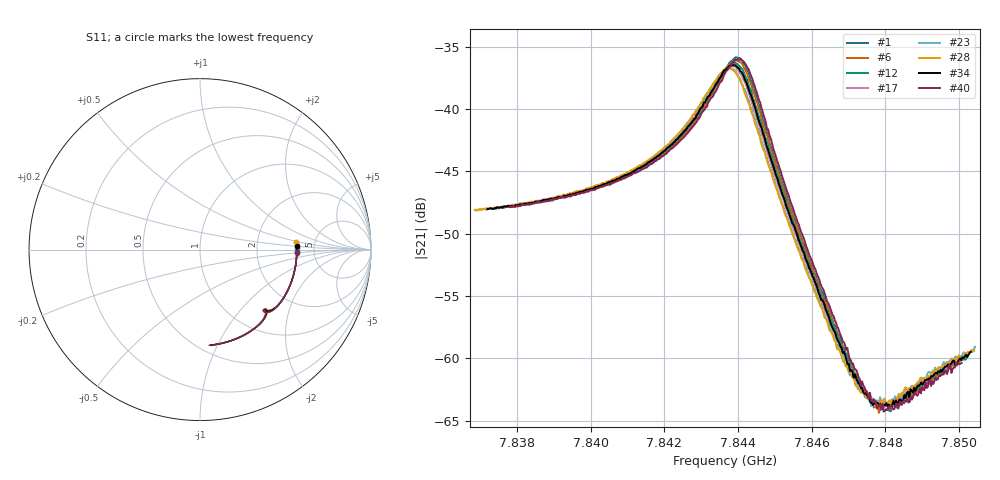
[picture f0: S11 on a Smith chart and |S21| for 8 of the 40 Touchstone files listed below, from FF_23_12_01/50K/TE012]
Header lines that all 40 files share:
#  HZ  S  RI  R  50.00
! Rohde & Schwarz Vector Network Analyzer
! Rohde-Schwarz,ZNB20-2Port,1311601062101988,3.16
! freq[Hz]  re:S11  im:S11  re:S21  im:S21  re:S12  im:S12  re:S22  im:S22
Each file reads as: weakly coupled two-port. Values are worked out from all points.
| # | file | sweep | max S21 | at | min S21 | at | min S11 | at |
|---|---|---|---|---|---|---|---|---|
| 1 | 0_2_48.1_50.1350174_0.03_.s2p | 7.83778 GHz to 7.84997 GHz | -35.83 dB | 7.84394 GHz | -64.3 dB | 7.84784 GHz | -5.8 dB | 7.84409 GHz |
| 2 | 5_2_48.1009_50.1359291_1748.937_.s2p | 7.83787 GHz to 7.84989 GHz | -35.80 dB | 7.84397 GHz | -64.5 dB | 7.84796 GHz | -5.8 dB | 7.84412 GHz |
| 3 | 10_2_48.0999_50.1343193_4609.933_.s2p | 7.83785 GHz to 7.84992 GHz | -35.85 dB | 7.84401 GHz | -64.4 dB | 7.84805 GHz | -5.8 dB | 7.8441 GHz |
| 4 | 17_2_48.0993_50.1315842_8923.59_.s2p | 7.83778 GHz to 7.84997 GHz | -35.95 dB | 7.84394 GHz | -64.2 dB | 7.84808 GHz | -5.8 dB | 7.84409 GHz |
| 5 | 26_2_48.0969_50.1289902_14359.001_.s2p | 7.83772 GHz to 7.84998 GHz | -36.00 dB | 7.84397 GHz | -64.3 dB | 7.84814 GHz | -5.8 dB | 7.84409 GHz |
| 6 | 27_2_48.0987_50.1288338_14959.355_.s2p | 7.83769 GHz to 7.85001 GHz | -36.02 dB | 7.84397 GHz | -64.4 dB | 7.84782 GHz | -5.8 dB | 7.84406 GHz |
| 7 | 36_2_48.0979_50.1211319_20755.227_.s2p | 7.83762 GHz to 7.85005 GHz | -36.10 dB | 7.84393 GHz | -64.1 dB | 7.84809 GHz | -5.8 dB | 7.84408 GHz |
| 8 | 38_2_48.0989_50.1217346_21906.084_.s2p | 7.83751 GHz to 7.85013 GHz | -36.19 dB | 7.84397 GHz | -64.2 dB | 7.84833 GHz | -5.8 dB | 7.84407 GHz |
| 9 | 46_2_48.0991_50.1153679_26951.215_.s2p | 7.83746 GHz to 7.85015 GHz | -36.24 dB | 7.8439 GHz | -64.1 dB | 7.84799 GHz | -5.8 dB | 7.84406 GHz |
| 10 | 48_2_48.0999_50.1119537_28062.322_.s2p | 7.83745 GHz to 7.85016 GHz | -36.21 dB | 7.84393 GHz | -64.3 dB | 7.84793 GHz | -5.8 dB | 7.84402 GHz |
| 11 | 50_2_48.0999_50.1113052_29213.637_.s2p | 7.83754 GHz to 7.85006 GHz | -36.21 dB | 7.84386 GHz | -64.0 dB | 7.84806 GHz | -5.8 dB | 7.84402 GHz |
| 12 | 53_2_48.0987_50.1072807_31195.439_.s2p | 7.83736 GHz to 7.85023 GHz | -36.27 dB | 7.84386 GHz | -64.0 dB | 7.84814 GHz | -5.8 dB | 7.84402 GHz |
| 13 | 65_2_48.1007_50.0958252_38346.52_.s2p | 7.83743 GHz to 7.85011 GHz | -36.41 dB | 7.8439 GHz | -64.1 dB | 7.84793 GHz | -5.8 dB | 7.844 GHz |
| 14 | 68_2_48.0921_50.0933952_40112.293_.s2p | 7.83728 GHz to 7.85024 GHz | -36.40 dB | 7.84389 GHz | -63.9 dB | 7.84814 GHz | -5.8 dB | 7.84399 GHz |
| 15 | 70_2_48.0999_50.0915031_41235.781_.s2p | 7.83731 GHz to 7.85022 GHz | -36.40 dB | 7.8438 GHz | -64.0 dB | 7.84796 GHz | -5.8 dB | 7.84399 GHz |
| 16 | 81_2_48.1019_50.0809479_47857.664_.s2p | 7.83729 GHz to 7.85019 GHz | -36.53 dB | 7.84383 GHz | -64.0 dB | 7.8478 GHz | -5.8 dB | 7.84396 GHz |
| 17 | 88_2_48.0993_50.0748787_52121.277_.s2p | 7.83717 GHz to 7.85026 GHz | -36.53 dB | 7.84382 GHz | -64.0 dB | 7.84794 GHz | -5.8 dB | 7.84398 GHz |
| 18 | 103_2_48.1044_50.0611458_61270.723_.s2p | 7.83707 GHz to 7.85034 GHz | -36.61 dB | 7.84387 GHz | -63.9 dB | 7.84802 GHz | -5.7 dB | 7.84394 GHz |
| 19 | 113_2_48.1011_50.0539856_67346.023_.s2p | 7.8372 GHz to 7.85017 GHz | -36.67 dB | 7.84385 GHz | -63.9 dB | 7.84806 GHz | -5.7 dB | 7.84394 GHz |
| 20 | 116_2_48.0993_50.0509529_69089.789_.s2p | 7.83691 GHz to 7.85043 GHz | -36.65 dB | 7.84377 GHz | -63.9 dB | 7.84786 GHz | -5.7 dB | 7.84394 GHz |
| 21 | 122_2_48.1004_50.0442886_72524.82_.s2p | 7.83707 GHz to 7.85026 GHz | -36.71 dB | 7.84379 GHz | -63.8 dB | 7.84782 GHz | -5.7 dB | 7.84393 GHz |
| 22 | 123_2_48.0976_50.0437584_73392.203_.s2p | 7.83707 GHz to 7.85025 GHz | -36.70 dB | 7.84373 GHz | -63.8 dB | 7.84808 GHz | -5.7 dB | 7.84393 GHz |
| 23 | 124_2_48.1008_50.0424728_73966.82_.s2p | 7.83686 GHz to 7.85043 GHz | -36.68 dB | 7.84378 GHz | -63.8 dB | 7.84762 GHz | -5.7 dB | 7.84392 GHz |
| 24 | 130_2_48.0994_50.0358543_77453.711_.s2p | 7.83697 GHz to 7.85033 GHz | -36.74 dB | 7.84382 GHz | -63.9 dB | 7.84776 GHz | -5.7 dB | 7.84392 GHz |
| 25 | 131_2_48.0962_50.0350952_78028.281_.s2p | 7.83686 GHz to 7.85041 GHz | -36.71 dB | 7.84377 GHz | -63.8 dB | 7.848 GHz | -5.7 dB | 7.8439 GHz |
| 26 | 151_2_48.0972_50.0175705_90000.047_.s2p | 7.83665 GHz to 7.85053 GHz | -36.83 dB | 7.84373 GHz | -63.7 dB | 7.84786 GHz | -5.7 dB | 7.84387 GHz |
| 27 | 172_2_48.1014_50.0375748_78129.391_.s2p | 7.83691 GHz to 7.85031 GHz | -36.73 dB | 7.84371 GHz | -63.7 dB | 7.8478 GHz | -5.7 dB | 7.84388 GHz |
| 28 | 187_2_48.0934_50.0551453_68971.195_.s2p | 7.83687 GHz to 7.85041 GHz | -36.65 dB | 7.84371 GHz | -63.9 dB | 7.8478 GHz | -5.7 dB | 7.84391 GHz |
| 29 | 190_2_48.0986_50.0569344_67293.727_.s2p | 7.83706 GHz to 7.85023 GHz | -36.64 dB | 7.84381 GHz | -63.9 dB | 7.84767 GHz | -5.7 dB | 7.84391 GHz |
| 30 | 198_2_48.101_50.0658798_62449.656_.s2p | 7.83706 GHz to 7.85028 GHz | -36.65 dB | 7.84377 GHz | -64.0 dB | 7.84793 GHz | -5.7 dB | 7.84393 GHz |
| 31 | 224_2_48.0975_50.0998764_46730.938_.s2p | 7.83728 GHz to 7.85019 GHz | -36.47 dB | 7.84383 GHz | -64.0 dB | 7.84796 GHz | -5.8 dB | 7.84399 GHz |
| 32 | 228_2_48.0986_50.1049614_44443.461_.s2p | 7.83728 GHz to 7.85022 GHz | -36.51 dB | 7.84388 GHz | -64.2 dB | 7.84811 GHz | -5.8 dB | 7.84401 GHz |
| 33 | 230_2_48.1049_50.1075478_43285.246_.s2p | 7.83714 GHz to 7.85035 GHz | -36.44 dB | 7.84388 GHz | -64.3 dB | 7.84784 GHz | -5.8 dB | 7.84401 GHz |
| 34 | 233_2_48.0983_50.1129341_41307.035_.s2p | 7.8372 GHz to 7.85032 GHz | -36.45 dB | 7.84386 GHz | -63.9 dB | 7.84789 GHz | -5.8 dB | 7.84402 GHz |
| 35 | 235_2_48.0999_50.1141472_40199.117_.s2p | 7.83721 GHz to 7.85031 GHz | -36.46 dB | 7.84386 GHz | -64.4 dB | 7.84792 GHz | -5.8 dB | 7.84402 GHz |
| 36 | 238_2_48.101_50.1173401_38441.289_.s2p | 7.83741 GHz to 7.85016 GHz | -36.39 dB | 7.84391 GHz | -64.2 dB | 7.84796 GHz | -5.8 dB | 7.84401 GHz |
| 37 | 255_2_48.1002_50.1363716_28144.688_.s2p | 7.83748 GHz to 7.85017 GHz | -36.30 dB | 7.84386 GHz | -64.1 dB | 7.84827 GHz | -5.8 dB | 7.84408 GHz |
| 38 | 278_2_48.1005_50.1588783_14491.339_.s2p | 7.83761 GHz to 7.85015 GHz | -36.12 dB | 7.84401 GHz | -64.2 dB | 7.84824 GHz | -5.8 dB | 7.8441 GHz |
| 39 | 287_2_48.1039_50.1678619_9081.684_.s2p | 7.83785 GHz to 7.84998 GHz | -36.05 dB | 7.84407 GHz | -64.3 dB | 7.84834 GHz | -5.8 dB | 7.84413 GHz |
| 40 | 295_2_48.1013_50.168972_4201.439_.s2p | 7.83778 GHz to 7.85007 GHz | -35.97 dB | 7.84408 GHz | -64.3 dB | 7.84795 GHz | -5.8 dB | 7.84414 GHz |
